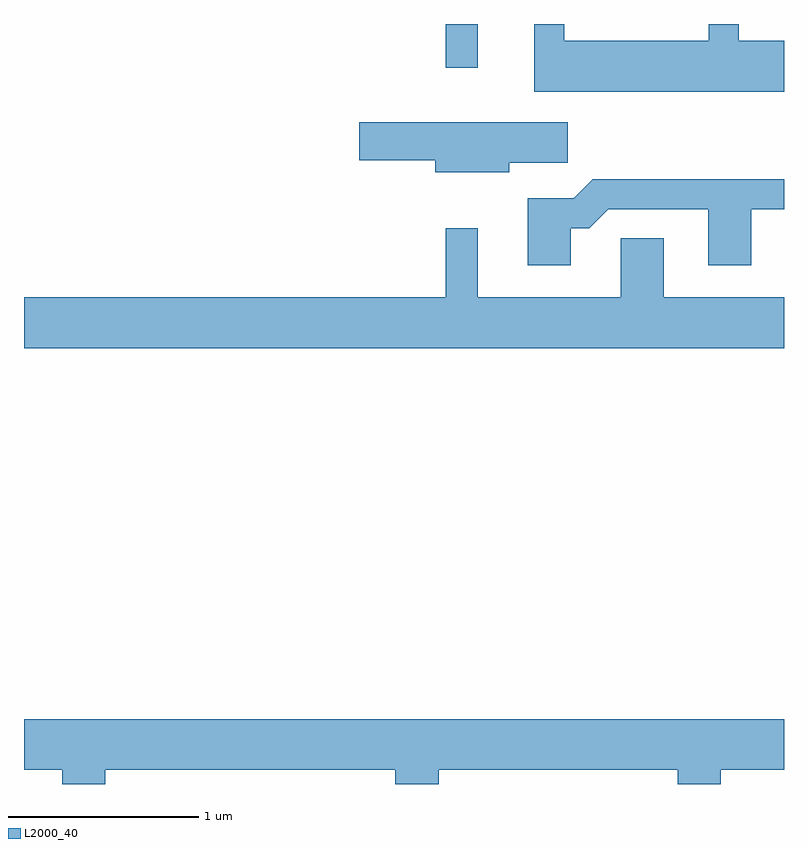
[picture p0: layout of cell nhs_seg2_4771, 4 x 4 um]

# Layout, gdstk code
import gdstk
lib = gdstk.Library(unit=1e-6, precision=1e-09)
def R(c, l, rs):  # rectangles x0, y0, x1, y1
    for r in rs: c.add(gdstk.rectangle(r[:2], r[2:], *l))
def P(c, l, *ps):  # polygons
    for p in ps: c.add(gdstk.Polygon(p, *l))
L2000_40 = (2000, 40)

nhs_seg2_4771 = lib.new_cell('nhs_seg2_4771')
R(nhs_seg2_4771, L2000_40, [(327.831,1047.573,327.999,1047.802)])
P(nhs_seg2_4771, L2000_40, [(329.611,1047.714),(329.374,1047.714),(329.374,1047.802),(329.216,1047.802),(329.216,1047.714),(328.454,1047.714),(328.454,1047.802),(328.296,1047.802),(328.296,1047.446),(329.611,1047.446)],
  [(328.164,1047.071),(328.474,1047.071),(328.474,1047.284),(327.376,1047.284),(327.376,1047.086),(327.776,1047.086),(327.776,1047.021),(328.164,1047.021)],
  [(328.489,1046.726),(328.587,1046.726),(328.687,1046.826),(329.211,1046.826),(329.211,1046.531),(329.439,1046.531),(329.439,1046.826),(329.611,1046.826),(329.611,1046.984),(328.604,1046.984),(328.504,1046.884),(328.261,1046.884),(328.261,1046.531),(328.489,1046.531)],
  [(329.611,1046.364),(328.979,1046.364),(328.979,1046.674),(328.751,1046.674),(328.751,1046.364),(327.999,1046.364),(327.999,1046.728),(327.831,1046.728),(327.831,1046.364),(325.611,1046.364),(325.611,1046.096),(329.611,1046.096)],
  [(325.611,1043.876),(325.811,1043.876),(325.811,1043.802),(326.039,1043.802),(326.039,1043.876),(327.566,1043.876),(327.566,1043.802),(327.794,1043.802),(327.794,1043.876),(329.051,1043.876),(329.051,1043.802),(329.279,1043.802),(329.279,1043.876),(329.611,1043.876),(329.611,1044.144),(325.611,1044.144)])

lib.write_gds('nhs_seg2_4771.gds')
